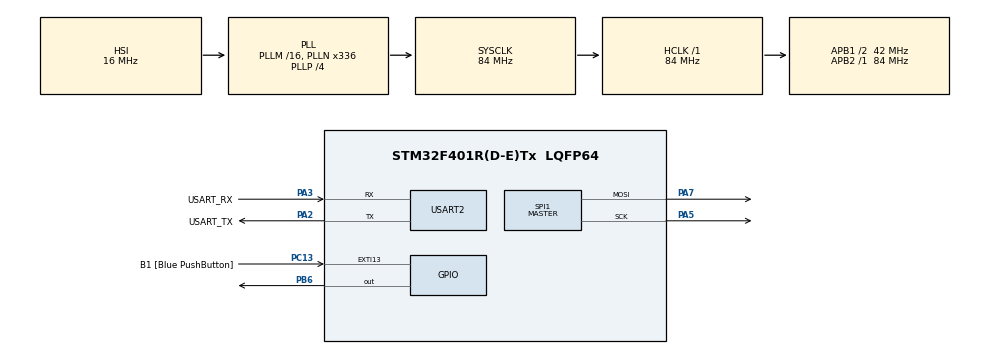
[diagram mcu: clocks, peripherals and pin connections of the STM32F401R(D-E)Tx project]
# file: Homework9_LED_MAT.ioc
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Dma.Request0=SPI1_TX
Dma.SPI1_TX.0.Direction=DMA_MEMORY_TO_PERIPH
Dma.SPI1_TX.0.FIFOMode=DMA_FIFOMODE_DISABLE
Dma.SPI1_TX.0.Instance=DMA2_Stream3
Dma.SPI1_TX.0.MemDataAlignment=DMA_MDATAALIGN_BYTE
Dma.SPI1_TX.0.MemInc=DMA_MINC_ENABLE
Dma.SPI1_TX.0.Mode=DMA_NORMAL
Dma.SPI1_TX.0.PeriphDataAlignment=DMA_PDATAALIGN_BYTE
Dma.SPI1_TX.0.PeriphInc=DMA_PINC_DISABLE
Dma.SPI1_TX.0.Priority=DMA_PRIORITY_LOW
Mcu.Family=STM32F4
Mcu.Name=STM32F401R(D-E)Tx
Mcu.Package=LQFP64
NVIC.DMA2_Stream3_IRQn=true\:0\:0\:false\:false\:true\:false\:true\:true
NVIC.PriorityGroup=NVIC_PRIORITYGROUP_0
NVIC.SPI1_IRQn=true\:0\:0\:false\:false\:true\:true\:true\:true
NVIC.TIM2_IRQn=true\:0\:0\:false\:false\:true\:true\:true\:true
NVIC.TIM3_IRQn=true\:0\:0\:false\:false\:true\:true\:true\:true
PA13.GPIO_Label=TMS
PA13.Mode=Serial_Wire
PA13.Signal=SYS_JTMS-SWDIO
PA14.GPIO_Label=TCK
PA14.Mode=Serial_Wire
PA14.Signal=SYS_JTCK-SWCLK
PA2.GPIO_Label=USART_TX
PA2.GPIO_Mode=GPIO_MODE_AF_PP
PA2.GPIO_PuPd=GPIO_NOPULL
PA2.GPIO_Speed=GPIO_SPEED_FREQ_LOW
PA2.Mode=Asynchronous
PA2.Signal=USART2_TX
PA3.GPIO_Label=USART_RX
PA3.GPIO_Mode=GPIO_MODE_AF_PP
PA3.GPIO_PuPd=GPIO_NOPULL
PA3.GPIO_Speed=GPIO_SPEED_FREQ_LOW
PA3.Mode=Asynchronous
PA3.Signal=USART2_RX
PA5.Mode=TX_Only_Simplex_Unidirect_Master
PA5.Signal=SPI1_SCK
PA7.Mode=TX_Only_Simplex_Unidirect_Master
PA7.Signal=SPI1_MOSI
PB3.GPIO_Label=SWO
PB3.Signal=SYS_JTDO-SWO
PB6.Signal=GPIO_Output
PC13-ANTI_TAMP.GPIO_Label=B1 [Blue PushButton]
PC13-ANTI_TAMP.GPIO_ModeDefaultEXTI=GPIO_MODE_IT_FALLING
PC13-ANTI_TAMP.GPIO_PuPd=GPIO_NOPULL
PC13-ANTI_TAMP.Signal=GPXTI13
PC14-OSC32_IN.Mode=LSE-External-Oscillator
PC14-OSC32_IN.Signal=RCC_OSC32_IN
PC15-OSC32_OUT.Mode=LSE-External-Oscillator
PC15-OSC32_OUT.Signal=RCC_OSC32_OUT
PH0\ -\ OSC_IN.Mode=HSE-External-Clock-Source
PH0\ -\ OSC_IN.Signal=RCC_OSC_IN
PH1\ -\ OSC_OUT.Mode=HSE-External-Clock-Source
PH1\ -\ OSC_OUT.Signal=RCC_OSC_OUT
ProjectManager.HeapSize=0x200
ProjectManager.StackSize=0x400
ProjectManager.TargetToolchain=STM32CubeIDE
RCC.48MHZClocksFreq_Value=48000000
RCC.AHBFreq_Value=84000000
RCC.APB1CLKDivider=RCC_HCLK_DIV2
RCC.APB1Freq_Value=42000000
RCC.APB1TimFreq_Value=84000000
RCC.APB2Freq_Value=84000000
RCC.APB2TimFreq_Value=84000000
RCC.CortexFreq_Value=84000000
RCC.HCLKFreq_Value=84000000
RCC.HSE_VALUE=8000000
RCC.HSI_VALUE=16000000
RCC.PLLN=336
RCC.PLLP=RCC_PLLP_DIV4
RCC.PLLQ=7
RCC.SYSCLKFreq_VALUE=84000000
RCC.SYSCLKSource=RCC_SYSCLKSOURCE_PLLCLK
RCC.VCOOutputFreq_Value=336000000
SPI1.BaudRatePrescaler=SPI_BAUDRATEPRESCALER_4
SPI1.Direction=SPI_DIRECTION_2LINES
SPI1.Mode=SPI_MODE_MASTER
SPI1.VirtualType=VM_MASTER
TIM2.Period=40-1
TIM2.Prescaler=8400-1
TIM3.Period=10000-1
TIM3.Prescaler=8400-1
USART2.VirtualMode=VM_ASYNC
VP_TIM2_VS_ClockSourceINT.Mode=Internal
VP_TIM3_VS_ClockSourceINT.Mode=Internal
board=NUCLEO-F401RE

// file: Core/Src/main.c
/* USER CODE BEGIN Header */
/**
  ******************************************************************************
  * @file           : main.c
  * @brief          : Main program body
  ******************************************************************************
  * @attention
  *
  * Copyright (c) 2024 STMicroelectronics.
  * All rights reserved.
  *
  * This software is licensed under terms that can be found in the LICENSE file
  * in the root directory of this software component.
  * If no LICENSE file comes with this software, it is provided AS-IS.
  *
  ******************************************************************************
  *GOAL:
  *Transmit a letter to the LED matrix using SPI and a timer interrupt & Alternate
  *Transmit between two letters (or one letter and one symbol)
  */
/* USER CODE END Header */
#include "main.h"

/* USER CODE BEGIN PD */

/*Every char can be represented as 5 couples of value: one value regards the
 * number of led that have to be turned on for each colon (in binary)
 * while the other one is about which column (16,8,4,2,1)*/
#define MATRIX_COL 2
#define MATRIX_ROW 5

/*The number of letters which I alternate on the led matrix is 2*/
#define NUM_OF_CHAR 2

/*RCLK is connected to the SPI pin SS (page 3 of hands-on lab schematics)
 * RCLK is the Storage Clock, which turns on the parallel output registers*/
#define RCLK GPIOB, GPIO_PIN_6

/* USER CODE END PD */

SPI_HandleTypeDef hspi1;
DMA_HandleTypeDef hdma_spi1_tx;

TIM_HandleTypeDef htim2;
TIM_HandleTypeDef htim3;

UART_HandleTypeDef huart2;

/* USER CODE BEGIN PV */

//3D array to store all the char (matrix) we have to send
uint8_t tx_char[NUM_OF_CHAR][MATRIX_ROW][MATRIX_COL] = {{
			{49, 16}, //Letter S
			{73, 8},
			{73, 4},
			{73, 2},
			{70, 1},
	},{
			{64, 16}, // Lettere T
			{64, 8},
			{127, 4},
			{64, 2},
			{64, 1}
	}
};

/*Index to decide which letter has to be transmitted*/
uint8_t letter_index = 0;

/*Index to decide which column I turn ON*/
uint8_t i = 0;

/* USER CODE END PV */

void SystemClock_Config(void);
static void MX_GPIO_Init(void);
static void MX_DMA_Init(void);
static void MX_USART2_UART_Init(void);
static void MX_SPI1_Init(void);
static void MX_TIM2_Init(void);
static void MX_TIM3_Init(void);

/* USER CODE BEGIN 0 */

/*Timers ISR*/
void HAL_TIM_PeriodElapsedCallback (TIM_HandleTypeDef *htim) {

	/*Every 4 ms*/
	if(htim == &htim2){

		/*When the last column is reached, restart
		 * (index rollback)*/
		if (i == MATRIX_ROW){
			i = 0;
		}

		/*TAKE CARE! In data I have to set the pointer as a parameter*/
		/*Here I transmit a couple, which is stored in the shift register, but
		 * it is still not reported to the output (no mention of the RCLK)*/
		HAL_SPI_Transmit_DMA(&hspi1, &tx_char[letter_index][i], MATRIX_COL);
		i++;
	}

	/*Every second*/
	if (htim == &htim3){
		letter_index++;
		/*Letter index rollback*/
		if(letter_index == NUM_OF_CHAR){
			letter_index = 0;
		}

	}
}

/*When the transmission of a couple of values in completed, I have turn on
 * RCLK, in order to send them to the output registers, and thus to the led matrix.
 * This parallel output is triggered by a positive edge so, after set the pin,
 * I immediately reset it*/
void HAL_SPI_TxCpltCallback(SPI_HandleTypeDef * hspi){
	if (hspi == &hspi1){
		HAL_GPIO_WritePin(RCLK, GPIO_PIN_SET);
		HAL_GPIO_WritePin(RCLK, GPIO_PIN_RESET);
	}

}

/* USER CODE END 0 */

int main(void)
{

  /* MCU Configuration--------------------------------------------------------*/

  /* Reset of all peripherals, Initializes the Flash interface and the Systick. */
  HAL_Init();

  /* Configure the system clock */
  SystemClock_Config();

  /* Initialize all configured peripherals */
  MX_GPIO_Init();
  MX_DMA_Init();
  MX_USART2_UART_Init();
  MX_SPI1_Init();
  MX_TIM2_Init();
  MX_TIM3_Init();
  /* USER CODE BEGIN 2 */

  /*reset of previous possible interrupt requests*/
  __HAL_TIM_CLEAR_IT(&htim2, TIM_IT_UPDATE);
  __HAL_TIM_CLEAR_IT(&htim3, TIM_IT_UPDATE);

  /*Starting the timers*/
  HAL_TIM_Base_Start_IT(&htim2);
  HAL_TIM_Base_Start_IT(&htim3);

  /* USER CODE END 2 */

  /* Infinite loop */
  while (1)
  {

  }
}

void SystemClock_Config(void)
{
  RCC_OscInitTypeDef RCC_OscInitStruct = {0};
  RCC_ClkInitTypeDef RCC_ClkInitStruct = {0};

  /** Configure the main internal regulator output voltage
  */
  __HAL_RCC_PWR_CLK_ENABLE();
  __HAL_PWR_VOLTAGESCALING_CONFIG(PWR_REGULATOR_VOLTAGE_SCALE2);

  /** Initializes the RCC Oscillators according to the specified parameters
  * in the RCC_OscInitTypeDef structure.
  */
  RCC_OscInitStruct.OscillatorType = RCC_OSCILLATORTYPE_HSI;
  RCC_OscInitStruct.HSIState = RCC_HSI_ON;
  RCC_OscInitStruct.HSICalibrationValue = RCC_HSICALIBRATION_DEFAULT;
  RCC_OscInitStruct.PLL.PLLState = RCC_PLL_ON;
  RCC_OscInitStruct.PLL.PLLSource = RCC_PLLSOURCE_HSI;
  RCC_OscInitStruct.PLL.PLLM = 16;
  RCC_OscInitStruct.PLL.PLLN = 336;
  RCC_OscInitStruct.PLL.PLLP = RCC_PLLP_DIV4;
  RCC_OscInitStruct.PLL.PLLQ = 7;
  if (HAL_RCC_OscConfig(&RCC_OscInitStruct) != HAL_OK)
  {
    Error_Handler();
  }

  /** Initializes the CPU, AHB and APB buses clocks
  */
  RCC_ClkInitStruct.ClockType = RCC_CLOCKTYPE_HCLK|RCC_CLOCKTYPE_SYSCLK
                              |RCC_CLOCKTYPE_PCLK1|RCC_CLOCKTYPE_PCLK2;
  RCC_ClkInitStruct.SYSCLKSource = RCC_SYSCLKSOURCE_PLLCLK;
  RCC_ClkInitStruct.AHBCLKDivider = RCC_SYSCLK_DIV1;
  RCC_ClkInitStruct.APB1CLKDivider = RCC_HCLK_DIV2;
  RCC_ClkInitStruct.APB2CLKDivider = RCC_HCLK_DIV1;

  if (HAL_RCC_ClockConfig(&RCC_ClkInitStruct, FLASH_LATENCY_2) != HAL_OK)
  {
    Error_Handler();
  }
}

static void MX_SPI1_Init(void)
{

  /* SPI1 parameter configuration*/
  hspi1.Instance = SPI1;
  hspi1.Init.Mode = SPI_MODE_MASTER;
  hspi1.Init.Direction = SPI_DIRECTION_2LINES;
  hspi1.Init.DataSize = SPI_DATASIZE_8BIT;
  hspi1.Init.CLKPolarity = SPI_POLARITY_LOW;
  hspi1.Init.CLKPhase = SPI_PHASE_1EDGE;
  hspi1.Init.NSS = SPI_NSS_SOFT;
  hspi1.Init.BaudRatePrescaler = SPI_BAUDRATEPRESCALER_4;
  hspi1.Init.FirstBit = SPI_FIRSTBIT_MSB;
  hspi1.Init.TIMode = SPI_TIMODE_DISABLE;
  hspi1.Init.CRCCalculation = SPI_CRCCALCULATION_DISABLE;
  hspi1.Init.CRCPolynomial = 10;
  if (HAL_SPI_Init(&hspi1) != HAL_OK)
  {
    Error_Handler();
  }

}

static void MX_TIM2_Init(void)
{

  TIM_ClockConfigTypeDef sClockSourceConfig = {0};
  TIM_MasterConfigTypeDef sMasterConfig = {0};

  htim2.Instance = TIM2;
  htim2.Init.Prescaler = 8400-1;
  htim2.Init.CounterMode = TIM_COUNTERMODE_UP;
  htim2.Init.Period = 40-1;
  htim2.Init.ClockDivision = TIM_CLOCKDIVISION_DIV1;
  htim2.Init.AutoReloadPreload = TIM_AUTORELOAD_PRELOAD_DISABLE;
  if (HAL_TIM_Base_Init(&htim2) != HAL_OK)
  {
    Error_Handler();
  }
  sClockSourceConfig.ClockSource = TIM_CLOCKSOURCE_INTERNAL;
  if (HAL_TIM_ConfigClockSource(&htim2, &sClockSourceConfig) != HAL_OK)
  {
    Error_Handler();
  }
  sMasterConfig.MasterOutputTrigger = TIM_TRGO_RESET;
  sMasterConfig.MasterSlaveMode = TIM_MASTERSLAVEMODE_DISABLE;
  if (HAL_TIMEx_MasterConfigSynchronization(&htim2, &sMasterConfig) != HAL_OK)
  {
    Error_Handler();
  }

}

static void MX_TIM3_Init(void)
{

  TIM_ClockConfigTypeDef sClockSourceConfig = {0};
  TIM_MasterConfigTypeDef sMasterConfig = {0};

  htim3.Instance = TIM3;
  htim3.Init.Prescaler = 8400-1;
  htim3.Init.CounterMode = TIM_COUNTERMODE_UP;
  htim3.Init.Period = 10000-1;
  htim3.Init.ClockDivision = TIM_CLOCKDIVISION_DIV1;
  htim3.Init.AutoReloadPreload = TIM_AUTORELOAD_PRELOAD_DISABLE;
  if (HAL_TIM_Base_Init(&htim3) != HAL_OK)
  {
    Error_Handler();
  }
  sClockSourceConfig.ClockSource = TIM_CLOCKSOURCE_INTERNAL;
  if (HAL_TIM_ConfigClockSource(&htim3, &sClockSourceConfig) != HAL_OK)
  {
    Error_Handler();
  }
  sMasterConfig.MasterOutputTrigger = TIM_TRGO_RESET;
  sMasterConfig.MasterSlaveMode = TIM_MASTERSLAVEMODE_DISABLE;
  if (HAL_TIMEx_MasterConfigSynchronization(&htim3, &sMasterConfig) != HAL_OK)
  {
    Error_Handler();
  }

}

static void MX_USART2_UART_Init(void)
{

  huart2.Instance = USART2;
  huart2.Init.BaudRate = 115200;
  huart2.Init.WordLength = UART_WORDLENGTH_8B;
  huart2.Init.StopBits = UART_STOPBITS_1;
  huart2.Init.Parity = UART_PARITY_NONE;
  huart2.Init.Mode = UART_MODE_TX_RX;
  huart2.Init.HwFlowCtl = UART_HWCONTROL_NONE;
  huart2.Init.OverSampling = UART_OVERSAMPLING_16;
  if (HAL_UART_Init(&huart2) != HAL_OK)
  {
    Error_Handler();
  }

}

static void MX_DMA_Init(void)
{

  /* DMA controller clock enable */
  __HAL_RCC_DMA2_CLK_ENABLE();

  /* DMA interrupt init */
  /* DMA2_Stream3_IRQn interrupt configuration */
  HAL_NVIC_SetPriority(DMA2_Stream3_IRQn, 0, 0);
  HAL_NVIC_EnableIRQ(DMA2_Stream3_IRQn);

}

static void MX_GPIO_Init(void)
{
  GPIO_InitTypeDef GPIO_InitStruct = {0};

  /* GPIO Ports Clock Enable */
  __HAL_RCC_GPIOC_CLK_ENABLE();
  __HAL_RCC_GPIOH_CLK_ENABLE();
  __HAL_RCC_GPIOA_CLK_ENABLE();
  __HAL_RCC_GPIOB_CLK_ENABLE();

  /*Configure GPIO pin Output Level */
  HAL_GPIO_WritePin(GPIOB, GPIO_PIN_6, GPIO_PIN_RESET);

  /*Configure GPIO pin : B1_Pin */
  GPIO_InitStruct.Pin = B1_Pin;
  GPIO_InitStruct.Mode = GPIO_MODE_IT_FALLING;
  GPIO_InitStruct.Pull = GPIO_NOPULL;
  HAL_GPIO_Init(B1_GPIO_Port, &GPIO_InitStruct);

  /*Configure GPIO pin : PB6 */
  GPIO_InitStruct.Pin = GPIO_PIN_6;
  GPIO_InitStruct.Mode = GPIO_MODE_OUTPUT_PP;
  GPIO_InitStruct.Pull = GPIO_NOPULL;
  GPIO_InitStruct.Speed = GPIO_SPEED_FREQ_LOW;
  HAL_GPIO_Init(GPIOB, &GPIO_InitStruct);

}

void Error_Handler(void)
{
  __disable_irq();
  while (1)
  {
  }
}
